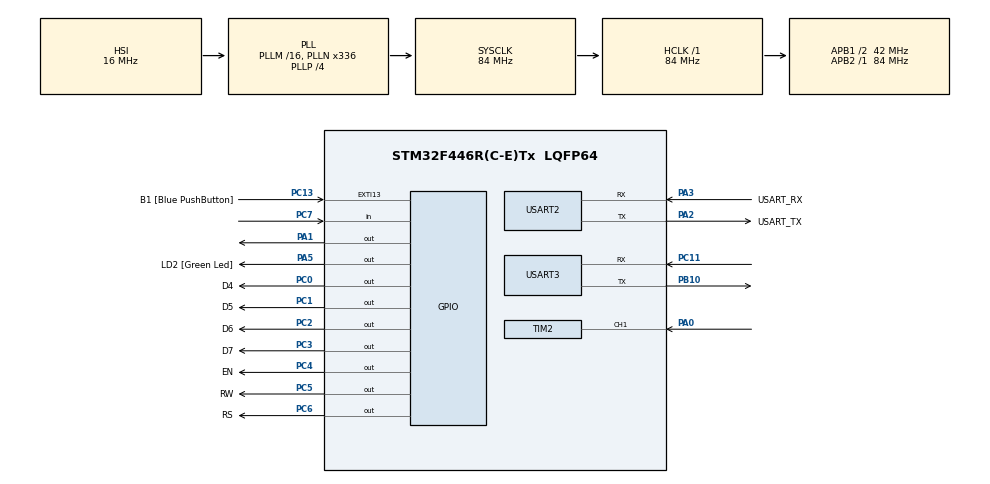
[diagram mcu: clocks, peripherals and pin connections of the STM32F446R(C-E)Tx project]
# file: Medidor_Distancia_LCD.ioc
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Mcu.Family=STM32F4
Mcu.Name=STM32F446R(C-E)Tx
Mcu.Package=LQFP64
NVIC.PriorityGroup=NVIC_PRIORITYGROUP_0
NVIC.TIM2_IRQn=true\:0\:0\:false\:false\:true\:true\:true
NVIC.TIM8_TRG_COM_TIM14_IRQn=true\:0\:0\:false\:false\:true\:true\:true
PA0-WKUP.Signal=S_TIM2_CH1_ETR
PA1.Signal=GPIO_Output
PA13.GPIO_Label=TMS
PA13.Mode=Serial_Wire
PA13.Signal=SYS_JTMS-SWDIO
PA14.GPIO_Label=TCK
PA14.Mode=Serial_Wire
PA14.Signal=SYS_JTCK-SWCLK
PA2.GPIO_Label=USART_TX
PA2.Mode=Asynchronous
PA2.Signal=USART2_TX
PA3.GPIO_Label=USART_RX
PA3.Mode=Asynchronous
PA3.Signal=USART2_RX
PA5.GPIO_Label=LD2 [Green Led]
PA5.Signal=GPIO_Output
PB10.Mode=Asynchronous
PB10.Signal=USART3_TX
PB3.GPIO_Label=SWO
PB3.Signal=SYS_JTDO-SWO
PC0.GPIO_Label=D4
PC0.Signal=GPIO_Output
PC1.GPIO_Label=D5
PC1.Signal=GPIO_Output
PC11.Mode=Asynchronous
PC11.Signal=USART3_RX
PC13.GPIO_Label=B1 [Blue PushButton]
PC13.GPIO_ModeDefaultEXTI=GPIO_MODE_IT_FALLING
PC13.Signal=GPXTI13
PC14-OSC32_IN.Mode=LSE-External-Oscillator
PC14-OSC32_IN.Signal=RCC_OSC32_IN
PC15-OSC32_OUT.Mode=LSE-External-Oscillator
PC15-OSC32_OUT.Signal=RCC_OSC32_OUT
PC2.GPIO_Label=D6
PC2.Signal=GPIO_Output
PC3.GPIO_Label=D7
PC3.Signal=GPIO_Output
PC4.GPIO_Label=EN
PC4.Signal=GPIO_Output
PC5.GPIO_Label=RW
PC5.Signal=GPIO_Output
PC6.GPIO_Label=RS
PC6.Signal=GPIO_Output
PC7.GPIO_PuPd=GPIO_PULLDOWN
PC7.Signal=GPIO_Input
PH0-OSC_IN.Mode=HSE-External-Oscillator
PH0-OSC_IN.Signal=RCC_OSC_IN
PH1-OSC_OUT.Mode=HSE-External-Oscillator
PH1-OSC_OUT.Signal=RCC_OSC_OUT
ProjectManager.HeapSize=0x200
ProjectManager.StackSize=0x400
ProjectManager.TargetToolchain=TrueSTUDIO
RCC.48MHZClocksFreq_Value=84000000
RCC.AHBFreq_Value=84000000
RCC.APB1CLKDivider=RCC_HCLK_DIV2
RCC.APB1Freq_Value=42000000
RCC.APB1TimFreq_Value=84000000
RCC.APB2Freq_Value=84000000
RCC.APB2TimFreq_Value=84000000
RCC.CortexFreq_Value=84000000
RCC.FLatency-AdvancedSettings=FLASH_LATENCY_2
RCC.HCLKFreq_Value=84000000
RCC.HSE_VALUE=8000000
RCC.HSI_VALUE=16000000
RCC.PLLN=336
RCC.PLLP=RCC_PLLP_DIV4
RCC.SYSCLKFreq_VALUE=84000000
RCC.SYSCLKSource=RCC_SYSCLKSOURCE_PLLCLK
RCC.USBFreq_Value=168000000
RCC.VCOOutputFreq_Value=336000000
SH.S_TIM2_CH1_ETR.0=TIM2_CH1,Input_Capture1_from_TI1
TIM14.Period=3
TIM14.Prescaler=209
TIM2.Channel-Input_Capture1_from_TI1=TIM_CHANNEL_1
TIM2.ICPolarity_CH1=TIM_INPUTCHANNELPOLARITY_BOTHEDGE
TIM2.Period=0xffffffff
TIM2.Prescaler=83
USART2.VirtualMode=VM_ASYNC
USART3.VirtualMode=VM_ASYNC
VP_TIM14_VS_ClockSourceINT.Mode=Enable_Timer
VP_TIM2_VS_ClockSourceINT.Mode=Internal
board=NUCLEO-F446RE

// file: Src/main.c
/* USER CODE BEGIN Header */
/**
  ******************************************************************************
  * @file           : main.c
  * @brief          : Medidor de distância usando um sensor ultrassônico e um display LCD 16x2 para exibição
  ******************************************************************************
  * @attention
  *
  * <h2><center>&copy; Copyright (c) 2019 STMicroelectronics.
  * All rights reserved.</center></h2>
  *
  * This software component is licensed by ST under BSD 3-Clause license,
  * the "License"; You may not use this file except in compliance with the
  * License. You may obtain a copy of the License at:
  *                        opensource.org/licenses/BSD-3-Clause
  *
  ******************************************************************************
  */
/* USER CODE END Header */

#include "main.h"
#include "tim.h"
#include "usart.h"
#include "gpio.h"
#include "lcd.h"

/* USER CODE BEGIN PV */
	unsigned long leitura1=0;
	unsigned long leitura2=0;
	unsigned long dif=0;
	unsigned long contador=0;
	float resultado=0;
	int aciona=0;
	int filtro=0;
	int crt=0;
/* USER CODE END PV */

void SystemClock_Config(void);
/* USER CODE BEGIN PFP */
void disparo(void);
void conversor(void);
void display(void);
/* USER CODE END PFP */

int main(void)
{

  /* MCU Configuration--------------------------------------------------------*/

  /* Reset of all peripherals, Initializes the Flash interface and the Systick. */
  HAL_Init();

  /* Configure the system clock */
  SystemClock_Config();

  /* Initialize all configured peripherals */
  MX_GPIO_Init();
  MX_TIM2_Init();
  MX_TIM14_Init();
  MX_USART2_UART_Init();
  MX_USART3_UART_Init();
  /* USER CODE BEGIN 2 */
  HAL_TIM_Base_Start_IT(&htim14);
  /* USER CODE END 2 */

  /* Infinite loop */
  while (1)
  {

    /* USER CODE BEGIN 3 */

	  /* Permite o acompanhamento do contador */
	  contador = __HAL_TIM_GetCounter(&htim2);

	  /* Inicia o sensor*/
	  filtro = HAL_GPIO_ReadPin(GPIOC,GPIO_PIN_7);

	  if (filtro)
		  aciona=1;

	  if(aciona)
		  disparo();

  }
  /* USER CODE END 3 */
}

void SystemClock_Config(void)
{
  RCC_OscInitTypeDef RCC_OscInitStruct = {0};
  RCC_ClkInitTypeDef RCC_ClkInitStruct = {0};

  /** Configure the main internal regulator output voltage
  */
  __HAL_RCC_PWR_CLK_ENABLE();
  __HAL_PWR_VOLTAGESCALING_CONFIG(PWR_REGULATOR_VOLTAGE_SCALE3);
  /** Initializes the CPU, AHB and APB busses clocks
  */
  RCC_OscInitStruct.OscillatorType = RCC_OSCILLATORTYPE_HSI;
  RCC_OscInitStruct.HSIState = RCC_HSI_ON;
  RCC_OscInitStruct.HSICalibrationValue = RCC_HSICALIBRATION_DEFAULT;
  RCC_OscInitStruct.PLL.PLLState = RCC_PLL_ON;
  RCC_OscInitStruct.PLL.PLLSource = RCC_PLLSOURCE_HSI;
  RCC_OscInitStruct.PLL.PLLM = 16;
  RCC_OscInitStruct.PLL.PLLN = 336;
  RCC_OscInitStruct.PLL.PLLP = RCC_PLLP_DIV4;
  RCC_OscInitStruct.PLL.PLLQ = 2;
  RCC_OscInitStruct.PLL.PLLR = 2;
  if (HAL_RCC_OscConfig(&RCC_OscInitStruct) != HAL_OK)
  {
    Error_Handler();
  }
  /** Initializes the CPU, AHB and APB busses clocks
  */
  RCC_ClkInitStruct.ClockType = RCC_CLOCKTYPE_HCLK|RCC_CLOCKTYPE_SYSCLK
                              |RCC_CLOCKTYPE_PCLK1|RCC_CLOCKTYPE_PCLK2;
  RCC_ClkInitStruct.SYSCLKSource = RCC_SYSCLKSOURCE_PLLCLK;
  RCC_ClkInitStruct.AHBCLKDivider = RCC_SYSCLK_DIV1;
  RCC_ClkInitStruct.APB1CLKDivider = RCC_HCLK_DIV2;
  RCC_ClkInitStruct.APB2CLKDivider = RCC_HCLK_DIV1;

  if (HAL_RCC_ClockConfig(&RCC_ClkInitStruct, FLASH_LATENCY_2) != HAL_OK)
  {
    Error_Handler();
  }
}

/* USER CODE BEGIN 4 */

/**
  * @brief  Gera um pulso em nível alto de 10us para o disparo do sensor
  */

void disparo(void)
{
	/* Aciona o pino do trigger */
	HAL_GPIO_WritePin(GPIOA,GPIO_PIN_1,GPIO_PIN_SET);
	/* inicia o timer */
	aciona = 0;
};

/**
  * @brief  Manda informações para o display
  */
void display(void)
{
	LCD.enable = GPIO_PIN_4;
	LCD.rs = GPIO_PIN_6;
	LCD.pinos[0] = GPIO_PIN_0;
	LCD.pinos[1] = GPIO_PIN_1;
	LCD.pinos[2] = GPIO_PIN_2;
	LCD.pinos[3] = GPIO_PIN_3;
	LCD.porta = GPIOC;

	init_display();

	clear();

	printf("Oie mundo");
};

/**
  * @brief  Converte o valor do contador para metros e obtêm a distância real
  */
void conversor(void)
{
	resultado = (dif*0.000001*340.29)/2;
};

/**
  * @brief  Reseta o timer responsável pelo trigger do sensor
  */
void HAL_TIM_PeriodElapsedCallback(TIM_HandleTypeDef *htim)
{
	if (htim->Instance==TIM14)
	{
		HAL_TIM_IC_Start_IT(&htim2,TIM_CHANNEL_1);
		HAL_GPIO_WritePin(GPIOA,GPIO_PIN_1,GPIO_PIN_RESET);
		__HAL_TIM_CLEAR_IT(htim, TIM_IT_UPDATE);
	}

}

/**
  * @brief  Resposta da captura de entrada
  */

void HAL_TIM_IC_CaptureCallback(TIM_HandleTypeDef *htim)
{
 if (htim->Instance==TIM2)
  {

	  if (crt==2)
	  {
		  /* Reseta o contador */
		  __HAL_TIM_SetCounter(&htim2, 0);
		  dif = leitura2-leitura1;
		  conversor();
		  crt=0;
	  }
	  else if (crt==1)
	  {
		  leitura2=HAL_TIM_ReadCapturedValue(&htim2, TIM_CHANNEL_1);
		  crt=2;
	  }
	  else if (crt==0)
	  {
		  /* leitura recebe o valor da leitura */
		  leitura1=HAL_TIM_ReadCapturedValue(&htim2, TIM_CHANNEL_1);
		  crt=1;
	  };

  }
}

/* USER CODE END 4 */

void Error_Handler(void)
{
}

/************************ (C) COPYRIGHT STMicroelectronics *****END OF FILE****/
